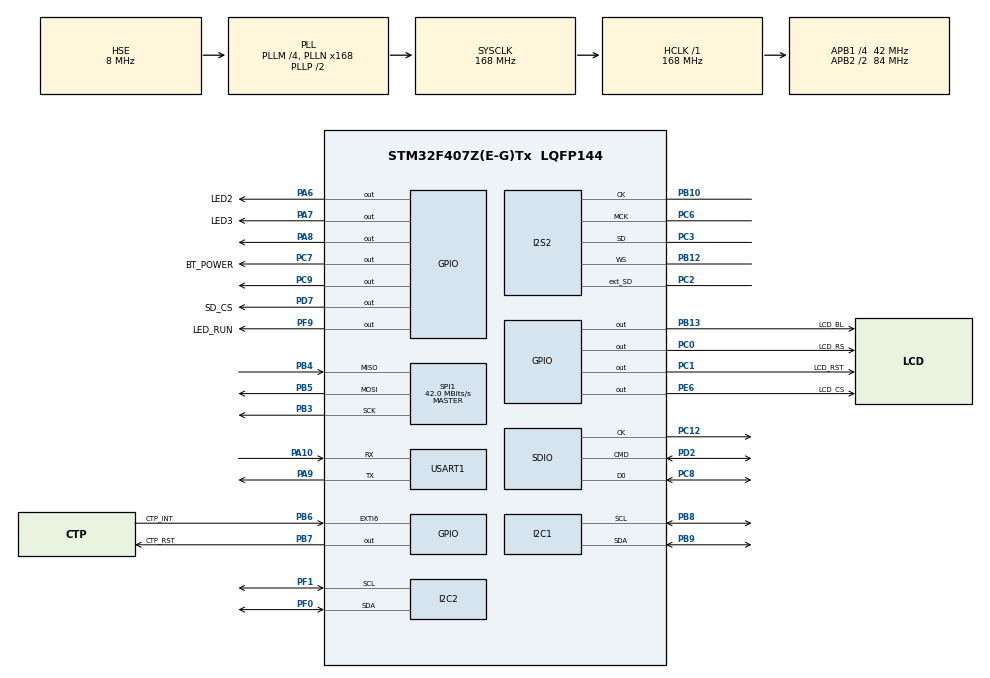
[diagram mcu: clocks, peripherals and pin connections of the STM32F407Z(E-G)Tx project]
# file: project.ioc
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Dma.I2S2_EXT_RX.5.Direction=DMA_PERIPH_TO_MEMORY
Dma.I2S2_EXT_RX.5.FIFOMode=DMA_FIFOMODE_DISABLE
Dma.I2S2_EXT_RX.5.Instance=DMA1_Stream3
Dma.I2S2_EXT_RX.5.MemDataAlignment=DMA_MDATAALIGN_HALFWORD
Dma.I2S2_EXT_RX.5.MemInc=DMA_MINC_ENABLE
Dma.I2S2_EXT_RX.5.Mode=DMA_CIRCULAR
Dma.I2S2_EXT_RX.5.PeriphDataAlignment=DMA_PDATAALIGN_HALFWORD
Dma.I2S2_EXT_RX.5.PeriphInc=DMA_PINC_DISABLE
Dma.I2S2_EXT_RX.5.Priority=DMA_PRIORITY_HIGH
Dma.Request0=SPI1_TX
Dma.Request1=SPI1_RX
Dma.Request2=SDIO_RX
Dma.Request3=SDIO_TX
Dma.Request4=SPI2_TX
Dma.Request5=I2S2_EXT_RX
Dma.Request6=USART1_TX
Dma.SDIO_RX.2.Direction=DMA_PERIPH_TO_MEMORY
Dma.SDIO_RX.2.FIFOMode=DMA_FIFOMODE_ENABLE
Dma.SDIO_RX.2.FIFOThreshold=DMA_FIFO_THRESHOLD_FULL
Dma.SDIO_RX.2.Instance=DMA2_Stream3
Dma.SDIO_RX.2.MemBurst=DMA_MBURST_INC4
Dma.SDIO_RX.2.MemDataAlignment=DMA_MDATAALIGN_WORD
Dma.SDIO_RX.2.MemInc=DMA_MINC_ENABLE
Dma.SDIO_RX.2.Mode=DMA_PFCTRL
Dma.SDIO_RX.2.PeriphBurst=DMA_PBURST_INC4
Dma.SDIO_RX.2.PeriphDataAlignment=DMA_PDATAALIGN_WORD
Dma.SDIO_RX.2.PeriphInc=DMA_PINC_DISABLE
Dma.SDIO_RX.2.Priority=DMA_PRIORITY_HIGH
Dma.SDIO_TX.3.Direction=DMA_MEMORY_TO_PERIPH
Dma.SDIO_TX.3.FIFOMode=DMA_FIFOMODE_ENABLE
Dma.SDIO_TX.3.FIFOThreshold=DMA_FIFO_THRESHOLD_FULL
Dma.SDIO_TX.3.Instance=DMA2_Stream6
Dma.SDIO_TX.3.MemBurst=DMA_MBURST_INC4
Dma.SDIO_TX.3.MemDataAlignment=DMA_MDATAALIGN_WORD
Dma.SDIO_TX.3.MemInc=DMA_MINC_ENABLE
Dma.SDIO_TX.3.Mode=DMA_PFCTRL
Dma.SDIO_TX.3.PeriphBurst=DMA_PBURST_INC4
Dma.SDIO_TX.3.PeriphDataAlignment=DMA_PDATAALIGN_WORD
Dma.SDIO_TX.3.PeriphInc=DMA_PINC_DISABLE
Dma.SDIO_TX.3.Priority=DMA_PRIORITY_HIGH
Dma.SPI1_RX.1.Direction=DMA_PERIPH_TO_MEMORY
Dma.SPI1_RX.1.FIFOMode=DMA_FIFOMODE_DISABLE
Dma.SPI1_RX.1.Instance=DMA2_Stream0
Dma.SPI1_RX.1.MemDataAlignment=DMA_MDATAALIGN_BYTE
Dma.SPI1_RX.1.MemInc=DMA_MINC_ENABLE
Dma.SPI1_RX.1.Mode=DMA_NORMAL
Dma.SPI1_RX.1.PeriphDataAlignment=DMA_PDATAALIGN_BYTE
Dma.SPI1_RX.1.PeriphInc=DMA_PINC_DISABLE
Dma.SPI1_RX.1.Priority=DMA_PRIORITY_MEDIUM
Dma.SPI1_TX.0.Direction=DMA_MEMORY_TO_PERIPH
Dma.SPI1_TX.0.FIFOMode=DMA_FIFOMODE_DISABLE
Dma.SPI1_TX.0.Instance=DMA2_Stream5
Dma.SPI1_TX.0.MemDataAlignment=DMA_MDATAALIGN_BYTE
Dma.SPI1_TX.0.MemInc=DMA_MINC_ENABLE
Dma.SPI1_TX.0.Mode=DMA_NORMAL
Dma.SPI1_TX.0.PeriphDataAlignment=DMA_PDATAALIGN_BYTE
Dma.SPI1_TX.0.PeriphInc=DMA_PINC_DISABLE
Dma.SPI1_TX.0.Priority=DMA_PRIORITY_MEDIUM
Dma.SPI2_TX.4.Direction=DMA_MEMORY_TO_PERIPH
Dma.SPI2_TX.4.FIFOMode=DMA_FIFOMODE_DISABLE
Dma.SPI2_TX.4.Instance=DMA1_Stream4
Dma.SPI2_TX.4.MemDataAlignment=DMA_MDATAALIGN_HALFWORD
Dma.SPI2_TX.4.MemInc=DMA_MINC_ENABLE
Dma.SPI2_TX.4.Mode=DMA_CIRCULAR
Dma.SPI2_TX.4.PeriphDataAlignment=DMA_PDATAALIGN_HALFWORD
Dma.SPI2_TX.4.PeriphInc=DMA_PINC_DISABLE
Dma.SPI2_TX.4.Priority=DMA_PRIORITY_HIGH
Dma.USART1_TX.6.Direction=DMA_MEMORY_TO_PERIPH
Dma.USART1_TX.6.FIFOMode=DMA_FIFOMODE_DISABLE
Dma.USART1_TX.6.Instance=DMA2_Stream7
Dma.USART1_TX.6.MemDataAlignment=DMA_MDATAALIGN_BYTE
Dma.USART1_TX.6.MemInc=DMA_MINC_ENABLE
Dma.USART1_TX.6.Mode=DMA_NORMAL
Dma.USART1_TX.6.PeriphDataAlignment=DMA_PDATAALIGN_BYTE
Dma.USART1_TX.6.PeriphInc=DMA_PINC_DISABLE
Dma.USART1_TX.6.Priority=DMA_PRIORITY_VERY_HIGH
FATFS._USE_LFN=1
I2C1.I2C_Mode=I2C_Fast
I2C2.I2C_Mode=I2C_Fast
I2S2.AudioFreq=I2S_AUDIOFREQ_44K
I2S2.ErrorAudioFreq=0.26 %
I2S2.FullDuplexMode=I2S_FULLDUPLEXMODE_ENABLE
I2S2.Instance=SPI$Index
I2S2.RealAudioFreq=44.117 KHz
I2S2.VirtualMode=I2S_MODE_MASTER
Mcu.Family=STM32F4
Mcu.Name=STM32F407Z(E-G)Tx
Mcu.Package=LQFP144
NVIC.DMA1_Stream3_IRQn=true\:0\:0\:false\:false\:true\:false\:true\:true
NVIC.DMA1_Stream4_IRQn=true\:0\:0\:false\:false\:true\:false\:true\:true
NVIC.DMA2_Stream0_IRQn=true\:3\:0\:true\:false\:true\:false\:true\:true
NVIC.DMA2_Stream3_IRQn=true\:3\:0\:true\:false\:true\:false\:true\:true
NVIC.DMA2_Stream5_IRQn=true\:0\:0\:false\:false\:true\:false\:true\:true
NVIC.DMA2_Stream6_IRQn=true\:0\:0\:false\:false\:true\:false\:true\:true
NVIC.DMA2_Stream7_IRQn=true\:0\:0\:false\:false\:true\:false\:true\:true
NVIC.EXTI9_5_IRQn=true\:5\:0\:true\:false\:true\:true\:true\:true
NVIC.PriorityGroup=NVIC_PRIORITYGROUP_4
NVIC.RTC_WKUP_IRQn=true\:0\:0\:false\:false\:true\:true\:true\:true
NVIC.SDIO_IRQn=true\:0\:0\:false\:false\:true\:true\:true\:true
NVIC.SPI1_IRQn=true\:3\:0\:true\:false\:true\:true\:true\:true
NVIC.SPI2_IRQn=true\:0\:0\:false\:false\:true\:true\:true\:true
NVIC.TIM3_IRQn=true\:2\:0\:true\:false\:true\:true\:true\:true
PA10.Mode=Asynchronous
PA10.Signal=USART1_RX
PA13.Mode=Serial_Wire
PA13.Signal=SYS_JTMS-SWDIO
PA14.Mode=Serial_Wire
PA14.Signal=SYS_JTCK-SWCLK
PA6.GPIO_Label=LED2
PA6.GPIO_Speed=GPIO_SPEED_FREQ_HIGH
PA6.PinState=GPIO_PIN_SET
PA6.Signal=GPIO_Output
PA7.GPIO_Label=LED3
PA7.GPIO_Speed=GPIO_SPEED_FREQ_HIGH
PA7.PinState=GPIO_PIN_SET
PA7.Signal=GPIO_Output
PA8.GPIO_PuPd=GPIO_PULLUP
PA8.GPIO_Speed=GPIO_SPEED_FREQ_VERY_HIGH
PA8.PinState=GPIO_PIN_SET
PA8.Signal=GPIO_Output
PA9.Mode=Asynchronous
PA9.Signal=USART1_TX
PB10.Mode=Full_Duplex_Master
PB10.Signal=I2S2_CK
PB12.Mode=Full_Duplex_Master
PB12.Signal=I2S2_WS
PB13.GPIO_Label=LCD_BL
PB13.GPIO_Speed=GPIO_SPEED_FREQ_MEDIUM
PB13.PinState=GPIO_PIN_SET
PB13.Signal=GPIO_Output
PB3.GPIO_PuPd=GPIO_PULLUP
PB3.Mode=Full_Duplex_Master
PB3.Signal=SPI1_SCK
PB4.GPIO_PuPd=GPIO_PULLUP
PB4.Mode=Full_Duplex_Master
PB4.Signal=SPI1_MISO
PB5.GPIO_PuPd=GPIO_PULLUP
PB5.Mode=Full_Duplex_Master
PB5.Signal=SPI1_MOSI
PB6.GPIO_Label=CTP_INT
PB6.GPIO_ModeDefaultEXTI=GPIO_MODE_IT_FALLING
PB6.GPIO_PuPd=GPIO_PULLUP
PB6.Signal=GPXTI6
PB7.GPIO_Label=CTP_RST
PB7.GPIO_Speed=GPIO_SPEED_FREQ_VERY_HIGH
PB7.PinState=GPIO_PIN_SET
PB7.Signal=GPIO_Output
PB8.GPIO_Pu=GPIO_PULLUP
PB8.Mode=I2C
PB8.Signal=I2C1_SCL
PB9.GPIO_Pu=GPIO_PULLUP
PB9.Mode=I2C
PB9.Signal=I2C1_SDA
PC0.GPIO_Label=LCD_RS
PC0.GPIO_ModeDefaultOutputPP=GPIO_MODE_OUTPUT_PP
PC0.GPIO_Speed=GPIO_SPEED_FREQ_VERY_HIGH
PC0.PinState=GPIO_PIN_SET
PC0.Signal=GPIO_Output
PC1.GPIO_Label=LCD_RST
PC1.GPIO_Speed=GPIO_SPEED_FREQ_VERY_HIGH
PC1.PinState=GPIO_PIN_SET
PC1.Signal=GPIO_Output
PC12.Mode=SD_1_bit
PC12.Signal=SDIO_CK
PC14-OSC32_IN.Mode=LSE-External-Oscillator
PC14-OSC32_IN.Signal=RCC_OSC32_IN
PC15-OSC32_OUT.Mode=LSE-External-Oscillator
PC15-OSC32_OUT.Signal=RCC_OSC32_OUT
PC2.Mode=Full_Duplex_Master
PC2.Signal=I2S2_ext_SD
PC3.Mode=Full_Duplex_Master
PC3.Signal=I2S2_SD
PC6.Mode=Master_Clock_Activated
PC6.Signal=I2S2_MCK
PC7.GPIO_Label=BT_POWER
PC7.GPIO_Speed=GPIO_SPEED_FREQ_MEDIUM
PC7.Signal=GPIO_Output
PC8.Mode=SD_1_bit
PC8.Signal=SDIO_D0
PC9.GPIO_PuPd=GPIO_PULLUP
PC9.GPIO_Speed=GPIO_SPEED_FREQ_VERY_HIGH
PC9.PinState=GPIO_PIN_SET
PC9.Signal=GPIO_Output
PD2.Mode=SD_1_bit
PD2.Signal=SDIO_CMD
PD7.GPIO_Label=SD_CS
PD7.GPIO_ModeDefaultOutputPP=GPIO_MODE_OUTPUT_PP
PD7.GPIO_PuPd=GPIO_PULLUP
PD7.GPIO_Speed=GPIO_SPEED_FREQ_VERY_HIGH
PD7.PinState=GPIO_PIN_SET
PD7.Signal=GPIO_Output
PE6.GPIO_Label=LCD_CS
PE6.GPIO_Speed=GPIO_SPEED_FREQ_VERY_HIGH
PE6.PinState=GPIO_PIN_SET
PE6.Signal=GPIO_Output
PF0.GPIO_Pu=GPIO_PULLUP
PF0.Mode=I2C
PF0.Signal=I2C2_SDA
PF1.GPIO_Pu=GPIO_PULLUP
PF1.Mode=I2C
PF1.Signal=I2C2_SCL
PF9.GPIO_Label=LED_RUN
PF9.Signal=GPIO_Output
PH0-OSC_IN.Mode=HSE-External-Oscillator
PH0-OSC_IN.Signal=RCC_OSC_IN
PH1-OSC_OUT.Mode=HSE-External-Oscillator
PH1-OSC_OUT.Signal=RCC_OSC_OUT
ProjectManager.HeapSize=0x8000
ProjectManager.StackSize=0x2600
ProjectManager.TargetToolchain=MDK-ARM V5.32
RCC.48MHZClocksFreq_Value=48000000
RCC.AHBFreq_Value=168000000
RCC.APB1CLKDivider=RCC_HCLK_DIV4
RCC.APB1Freq_Value=42000000
RCC.APB1TimFreq_Value=84000000
RCC.APB2CLKDivider=RCC_HCLK_DIV2
RCC.APB2Freq_Value=84000000
RCC.APB2TimFreq_Value=168000000
RCC.CortexFreq_Value=168000000
RCC.EnbaleCSS=true
RCC.HCLKFreq_Value=168000000
RCC.HSE_VALUE=8000000
RCC.HSI_VALUE=16000000
RCC.PLLM=4
RCC.PLLN=168
RCC.PLLQ=7
RCC.PLLSourceVirtual=RCC_PLLSOURCE_HSE
RCC.SYSCLKFreq_VALUE=168000000
RCC.SYSCLKSource=RCC_SYSCLKSOURCE_PLLCLK
RCC.VCOOutputFreq_Value=336000000
RTC.WakeUpClock=RTC_WAKEUPCLOCK_CK_SPRE_16BITS
RTC.WakeUpCounter=2
SPI1.BaudRatePrescaler=SPI_BAUDRATEPRESCALER_2
SPI1.CLKPhase=SPI_PHASE_2EDGE
SPI1.CLKPolarity=SPI_POLARITY_HIGH
SPI1.CalculateBaudRate=42.0 MBits/s
SPI1.Direction=SPI_DIRECTION_2LINES
SPI1.Mode=SPI_MODE_MASTER
SPI1.VirtualType=VM_MASTER
TIM3.AutoReloadPreload=TIM_AUTORELOAD_PRELOAD_ENABLE
TIM3.Period=1000-1
TIM3.Prescaler=84-1
USART1.VirtualMode=VM_ASYNC
VP_CRC_VS_CRC.Mode=CRC_Activate
VP_FATFS_VS_SDIO.Mode=SDIO
VP_RTC_VS_RTC_Activate.Mode=RTC_Enabled
VP_RTC_VS_RTC_WakeUp_intern.Mode=WakeUp
VP_TIM3_VS_ClockSourceINT.Mode=Internal
board=custom

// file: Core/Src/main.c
/* USER CODE BEGIN Header */
/**
 ******************************************************************************
 * @file    : main.c
 * @brief   : Main program body
 * @author  : Zeruns
 * @brief   : 基于STM32F407的LVGL工程模板（MSP3526屏幕）
 * @version : 0.1
 * @date    : 2024-05-21
 * @作者个人博客  : https://blog.zeruns.tech
 * @B站空间       : https://space.bilibili.com/8320520
 ******************************************************************************
 * @attention
 *
 * Copyright (c) 2024 STMicroelectronics.
 * All rights reserved.
 *
 * This software is licensed under terms that can be found in the LICENSE file
 * in the root directory of this software component.
 * If no LICENSE file comes with this software, it is provided AS-IS.
 *
 ******************************************************************************
 *    硬件接线：
 *    LCD               MCU           功能描述
 * ----------------------------------------------------------------------------
 *    GND       ->      GND     ->    LCD屏电源地
 *    VCC       ->      5V      ->    LCD屏电源正极
 *    LCD_CS    ->      PE6     ->    LCD屏SPI片选
 *    LCD_RST   ->      PC1     ->    LCD屏复位
 *    LCD_RS    ->      PC0     ->    LCD屏命令/数据选择
 *    SDI(MOSI) ->      PB5     ->    LCD屏SPI数据线，主机输出从机输入
 *    SCK       ->      PB3     ->    LCD屏SPI时钟线
 *    LED       ->      3.3V（可以自己接IO口，用软件控制背光）
 *    SDO(MISO) ->      PB4     ->    LCD屏SPI数据线，主机输入从机输出
 *    CTP_SCL   ->      PB8     ->    电容触摸屏控制器I2C时钟线
 *    CTP_RST   ->      PB7     ->    电容触摸屏控制器复位
 *    CTP_SDA   ->      PB9     ->    电容触摸屏控制器I2C数据线
 *    CTP_INT   ->      PB6     ->    电容触摸屏控制器中断信号
 ******************************************************************************
 */
/* USER CODE END Header */
#include "main.h"
#include "crc.h"
#include "dma.h"
#include "fatfs.h"
#include "i2c.h"
#include "i2s.h"
#include "rtc.h"
#include "sdio.h"
#include "spi.h"
#include "tim.h"
#include "usart.h"
#include "gpio.h"

/* USER CODE BEGIN Includes */
#include "LCD.h"
#include "lvgl.h"
#include "lv_port_disp.h"
#include "lv_port_indev.h"
#include "touch.h"
#include "FT6336.h"
#include "debug_uart.h"
#include "music_assistant.h"
#include "playlist.h"
#include "audio_play.h"
#include "sd_init.h"
#include "wm8978.h"
#include "fatfs.h"
#include "ff.h"
#include "bluetooth_power.h"
#include "recorder.h"
#include "power_management.h"
#include <string.h>
#include <stdio.h>
/* USER CODE END Includes */

/* USER CODE BEGIN PV */
volatile uint16_t ms_cnt_1 = 0;      ///< 毫秒计时变量1（用于500ms LED闪烁）
volatile uint16_t ms_cnt_2 = 0;      ///< 毫秒计时变量2（用于5ms LVGL任务处理）
volatile uint16_t heartbeat_ms = 0;  ///< 系统心跳计时，用于心跳灯（PF9，1Hz闪烁）
/* USER CODE END PV */

void SystemClock_Config(void);

int main(void)
{

  /* MCU Configuration--------------------------------------------------------*/

  /* Reset of all peripherals, Initializes the Flash interface and the Systick. */
  HAL_Init();

  /* Configure the system clock */
  SystemClock_Config();

  /* Initialize all configured peripherals */
  MX_GPIO_Init();
  MX_DMA_Init();
  MX_USART1_UART_Init();
  MX_I2C1_Init();
  MX_TIM3_Init();
  MX_CRC_Init();
  MX_SPI1_Init();
  MX_SDIO_SD_Init();
  MX_I2S2_Init();
  MX_FATFS_Init();
  MX_I2C2_Init();
  MX_RTC_Init();
  /* USER CODE BEGIN 2 */
  /* 先输出最基本的启动信息，确认系统能运行 */
  /*HAL_UART_Transmit(&huart1, (uint8_t *)"System Starting...\r\n", 20, 1000);
  HAL_Delay(10);*/

  HAL_TIM_Base_Start_IT(&htim3);  ///< 启动定时器3，1ms中断（用于系统时基和LVGL tick）
  /*HAL_UART_Transmit(&huart1, (uint8_t *)"Timer started\r\n", 16, 1000);
  HAL_Delay(10);*/

  /* 初始化WM8978音频芯片 */
  if(WM8978_Init() == 0) {
    /*HAL_UART_Transmit(&huart1, (uint8_t *)"WM8978 initialized\r\n", 21, 1000);*/
    /* 初始设置：耳机音量50%，扬声器音量30% */
    WM8978_HPvol_Set(50, 50);
    WM8978_SPKvol_Set(30);
  } else {
    /*HAL_UART_Transmit(&huart1, (uint8_t *)"WM8978 init failed!\r\n", 22, 1000);*/
  }
  /*HAL_Delay(10);*/

  /* 初始化蓝牙电源控制（默认断电状态） */
  BT_Power_Init();
  /*HAL_UART_Transmit(&huart1, (uint8_t *)"Bluetooth power control initialized\r\n", 40, 1000);
  HAL_Delay(10);*/

  /* 初始化密码管理模块 */
  extern void PasswordManager_Init(void);
  PasswordManager_Init();

  /* 初始化节拍器 */
  extern void Metronome_Init(void);
  Metronome_Init();
  /*HAL_UART_Transmit(&huart1, (uint8_t *)"Metronome initialized\r\n", 24, 1000);
  HAL_Delay(10);*/

  /* 初始化录音机 */
  extern void Recorder_Init(void);
  Recorder_Init();
  /*HAL_UART_Transmit(&huart1, (uint8_t *)"Recorder initialized\r\n", 24, 1000);
  HAL_Delay(10);*/

  /* 暂时注释掉SD卡和播放列表初始化，避免阻塞 */
  /*
  FRESULT res;
  res = f_mount(&SDFatFS, SDPath, 1);
  if(res == FR_OK)
  {
    LOGI("SD Card mounted successfully\r\n");

    if(Playlist_Init() == 0)
    {
      LOGI("Playlist initialized, found %d songs\r\n", Playlist_GetCount());
    }
    else
    {
      LOGI("Playlist init failed or no songs found\r\n");
    }
  }
  else
  {
    LOGI("SD Card mount failed: %d\r\n", res);
  }
  */

  /*HAL_UART_Transmit(&huart1, (uint8_t *)"Initializing LVGL...\r\n", 23, 1000);
  HAL_Delay(10);*/

  /*LOGI("System boot.\r\n");
  LOGI("Hello World!\r\n");*/       // 上电串口输出
  lv_init();                     // LVGL初始化
  lv_port_disp_init();           // LVGL显示初始化
  lv_port_indev_init();          // LVGL输入设备初始化

  /*HAL_UART_Transmit(&huart1, (uint8_t *)"LVGL initialized\r\n", 19, 1000);
  HAL_Delay(10);*/

  /* 初始化主菜单界面 */
  music_assistant_init();
  /* 如果开启了密码保护：上电也先解锁，再进入主菜单 */
  extern void music_assistant_show_password_unlock(void);
  music_assistant_show_password_unlock();

  /*HAL_UART_Transmit(&huart1, (uint8_t *)"UI initialized\r\n", 17, 1000);
  HAL_Delay(10);*/

  /* 初始化电源管理模块 */
  Power_Init();

  /* 启动SD卡异步初始化（延迟初始化，不阻塞启动） */
  SD_Init_Start();
  /*HAL_UART_Transmit(&huart1, (uint8_t *)"SD init started (async)\r\n", 26, 1000);*/
  /* USER CODE END 2 */

  /* Infinite loop */
  /* USER CODE BEGIN WHILE */
  /* 使用阻塞发送代替 USART1_Printf，避免 DMA 阻塞问题 */
  /*char lcd_msg[50];
  sprintf(lcd_msg, "LCD ID:%d\r\n", LCD_Read_ID());
  HAL_UART_Transmit(&huart1, (uint8_t *)lcd_msg, strlen(lcd_msg), 1000);

  char entry_msg[] = "[MAIN] Entering main loop...\r\n";
  HAL_UART_Transmit(&huart1, (uint8_t *)entry_msg, strlen(entry_msg), 1000);*/

  while (1)
  {
    /* [MAIN] Loop running 输出已注释，避免刷屏 */
    /*
    static uint32_t loop_entry_count = 0;
    if (++loop_entry_count % 10000 == 0)
    {
      char quick_msg[80];
      sprintf(quick_msg, "[MAIN] Loop running, entry=%lu\r\n", loop_entry_count);
      HAL_UART_Transmit(&huart1, (uint8_t *)quick_msg, strlen(quick_msg), 1000);
    }
    */

    /* USER CODE END WHILE */

    /* USER CODE BEGIN 3 */
    /* SD卡异步初始化更新（在主循环中执行，不阻塞） */
    SD_Init_Update();

    /* 音频播放状态更新（需要在主循环中定期调用，每次循环都执行） */
    Audio_Update();  ///< 更新音频播放状态，填充DMA缓冲区，检测播放结束

    /* 触摸扫描任务：检查中断标志位，在主循环里安全执行I2C扫描 */
    TP_Scan_Task();  ///< 触摸屏扫描任务（非阻塞方式，检查中断标志后执行I2C读取）

    /* 电源管理触摸扫描任务：检测触摸长按3秒唤醒 */
    Power_TouchScanTask();  ///< 电源管理触摸扫描任务（检测长按3秒）

    /* LVGL 刷新：50ms（移植自v1.0，与Player_Update同步） */
    if (ms_cnt_2 >= 50)
    {
      ms_cnt_2 = 0;      // 计时清零
      lv_task_handler(); // LVGL任务处理

      /* 更新播放器状态（移植自v1.0，在LVGL刷新块内调用，确保UI同步） */
      Player_Update();   ///< 500ms更新频率（内部节流），但每50ms检查一次

      /* 节拍器处理 */
      extern void Metronome_Audio_Process(void);
      extern void Metronome_CheckBeatStrengthChange(void);
      Metronome_Audio_Process();              // 处理音频播放请求和完成标志
      Metronome_CheckBeatStrengthChange();    // 检查节拍强度变化

      /* 更新节拍器UI显示 */
      extern void update_metronome_display(void);
      update_metronome_display();

      // 更新Practice计时器
      if(current_page == PAGE_PRACTICE)
      {
          extern void Practice_Timer_Update(void);
          Practice_Timer_Update();
      }

      /* 录音机处理 */
      extern void Recorder_Process(void);
      Recorder_Process();  // 处理录音数据写入

      /* 更新录音机UI显示 */
      extern page_t current_page;
      if(current_page == 5) {  // PAGE_RECORDER
        extern recorder_state_t Recorder_GetState(void);
        extern uint32_t Recorder_GetRecordTime(void);

        recorder_state_t state = Recorder_GetState();
        uint32_t record_time = Recorder_GetRecordTime();

        // 更新UI显示
        lv_obj_t *screen = lv_scr_act();
        uint32_t child_cnt = lv_obj_get_child_cnt(screen);
        for(uint32_t i = 0; i < child_cnt; i++) {
          lv_obj_t *child = lv_obj_get_child(screen, i);
          void *user_data = lv_obj_get_user_data(child);
          if(user_data) {
            if(strcmp((char*)user_data, "status") == 0) {
              const char* status_text = "Ready";
              if(state == RECORDER_STATE_RECORDING) {
                status_text = "Recording";
              } else if(state == RECORDER_STATE_PAUSED) {
                status_text = "Paused";
              }
              lv_label_set_text(child, status_text);
            } else if(strcmp((char*)user_data, "time") == 0) {
              uint32_t minutes = record_time / 60;
              uint32_t seconds = record_time % 60;
              lv_label_set_text_fmt(child, "%02lu:%02lu", minutes, seconds);
            } else if(strcmp((char*)user_data, "play") == 0) {
              lv_obj_t *play_label = lv_obj_get_child(child, 0);
              if(play_label) {
                if(state == RECORDER_STATE_RECORDING) {
                  lv_label_set_text(play_label, LV_SYMBOL_PAUSE);
                } else {
                  lv_label_set_text(play_label, LV_SYMBOL_PLAY);
                }
              }
            }
          }
        }
      }
    }

    if (ms_cnt_1 >= 500) // 判断是否计时到500ms
    {
      ms_cnt_1 = 0;                                 // 计时清零
      HAL_GPIO_TogglePin(LED2_GPIO_Port, LED2_Pin); // LED2电平翻转

      /* [LOOP] 输出已注释，避免刷屏 */
      /*
      static uint32_t loop_count = 0;
      loop_count++;
      char status_msg[150];
      sprintf(status_msg, "[LOOP] count=%lu, USART1 gState=0x%02X, RxState=0x%02X\r\n",
              loop_count, huart1.gState, huart1.RxState);
      HAL_UART_Transmit(&huart1, (uint8_t *)status_msg, strlen(status_msg), 1000);
      */
    }
    if (heartbeat_ms >= 500) // 心跳灯 1Hz 闪烁（PF9，低电平点亮）
    {
      heartbeat_ms = 0;
      HAL_GPIO_TogglePin(LED_RUN_GPIO_Port, LED_RUN_Pin);
    }
  }
  /* USER CODE END 3 */
}

void SystemClock_Config(void)
{
  RCC_OscInitTypeDef RCC_OscInitStruct = {0};
  RCC_ClkInitTypeDef RCC_ClkInitStruct = {0};

  /** Configure the main internal regulator output voltage
  */
  __HAL_RCC_PWR_CLK_ENABLE();
  __HAL_PWR_VOLTAGESCALING_CONFIG(PWR_REGULATOR_VOLTAGE_SCALE1);

  /** Initializes the RCC Oscillators according to the specified parameters
  * in the RCC_OscInitTypeDef structure.
  */
  RCC_OscInitStruct.OscillatorType = RCC_OSCILLATORTYPE_LSI|RCC_OSCILLATORTYPE_HSE;
  RCC_OscInitStruct.HSEState = RCC_HSE_ON;
  RCC_OscInitStruct.LSIState = RCC_LSI_ON;
  RCC_OscInitStruct.PLL.PLLState = RCC_PLL_ON;
  RCC_OscInitStruct.PLL.PLLSource = RCC_PLLSOURCE_HSE;
  RCC_OscInitStruct.PLL.PLLM = 4;
  RCC_OscInitStruct.PLL.PLLN = 168;
  RCC_OscInitStruct.PLL.PLLP = RCC_PLLP_DIV2;
  RCC_OscInitStruct.PLL.PLLQ = 7;
  if (HAL_RCC_OscConfig(&RCC_OscInitStruct) != HAL_OK)
  {
    Error_Handler();
  }

  /** Initializes the CPU, AHB and APB buses clocks
  */
  RCC_ClkInitStruct.ClockType = RCC_CLOCKTYPE_HCLK|RCC_CLOCKTYPE_SYSCLK
                              |RCC_CLOCKTYPE_PCLK1|RCC_CLOCKTYPE_PCLK2;
  RCC_ClkInitStruct.SYSCLKSource = RCC_SYSCLKSOURCE_PLLCLK;
  RCC_ClkInitStruct.AHBCLKDivider = RCC_SYSCLK_DIV1;
  RCC_ClkInitStruct.APB1CLKDivider = RCC_HCLK_DIV4;
  RCC_ClkInitStruct.APB2CLKDivider = RCC_HCLK_DIV2;

  if (HAL_RCC_ClockConfig(&RCC_ClkInitStruct, FLASH_LATENCY_5) != HAL_OK)
  {
    Error_Handler();
  }

  /** Enables the Clock Security System
  */
  HAL_RCC_EnableCSS();
}

/* USER CODE BEGIN 4 */
/**
  * @brief  定时器周期中断回调函数
  * @param  htim: 定时器句柄指针
  * @retval None
  * @note   TIM3定时器1ms中断回调，更新系统计时变量和LVGL时基
  */
void HAL_TIM_PeriodElapsedCallback(TIM_HandleTypeDef *htim)
{
  if (htim->Instance == TIM3)  ///< 定时器TIM3，中断周期1ms
  {
    ms_cnt_1++;        ///< 500ms计时变量（用于LED闪烁）
    ms_cnt_2++;        ///< 5ms计时变量（用于LVGL任务处理）
    heartbeat_ms++;    ///< 心跳灯计时变量（1Hz闪烁）
    lv_tick_inc(1);    ///< LVGL时基更新（1ms）
  }
}
/* USER CODE END 4 */

void Error_Handler(void)
{
  __disable_irq();
  while (1)
  {
  }
}
